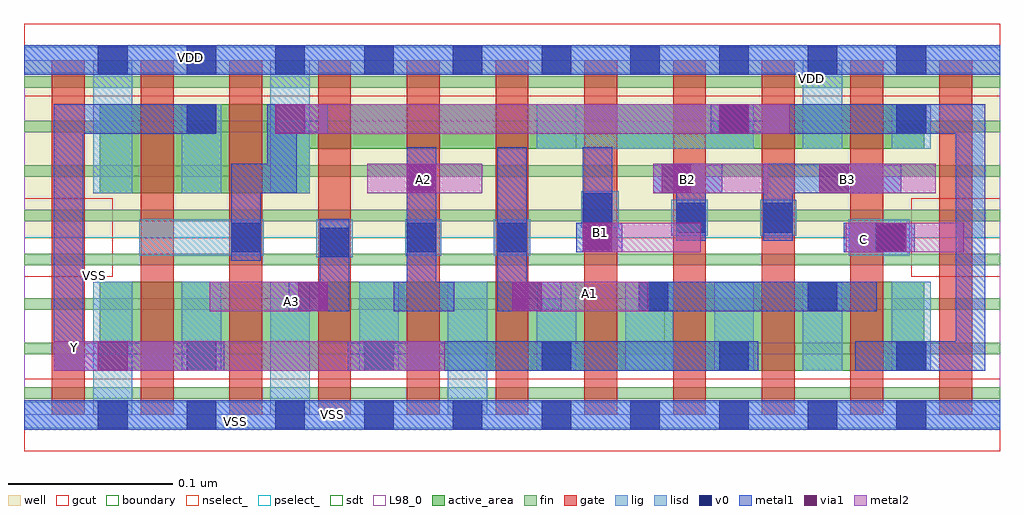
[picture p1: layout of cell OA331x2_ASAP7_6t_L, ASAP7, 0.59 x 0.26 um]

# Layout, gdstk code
import gdstk
lib = gdstk.Library(unit=1e-6, precision=2.5e-10)
def R(c, l, rs):  # rectangles x0, y0, x1, y1
    for r in rs: c.add(gdstk.rectangle(r[:2], r[2:], *l))
def A(c, l, x, y, w, h, nx, ny, dx, dy):  # array of equal rectangles
    R(c, l, [(x+i*dx, y+j*dy, x+i*dx+w, y+j*dy+h) for i in range(nx) for j in range(ny)])
def P(c, l, *ps):  # polygons
    for p in ps: c.add(gdstk.Polygon(p, *l))
well = (1, 0)
fin = (2, 0)
gate = (7, 0)
gcut = (10, 0)
active_area = (11, 0)
nselect_ = (12, 0)
pselect_ = (13, 0)
lig = (16, 0)
lisd = (17, 0)
v0 = (18, 0)
metal1 = (19, 0)
metal2 = (20, 0)
via1 = (21, 0)
sdt = (88, 0)
L98_0 = (98, 0)
boundary = (100, 0)

oa331x2_asap7_6t_l = lib.new_cell('OA331x2_ASAP7_6t_L')
R(oa331x2_asap7_6t_l, well, [(0,0.108,0.594,0.216)])
A(oa331x2_asap7_6t_l, fin, 0, 0.01, 0.594, 0.007, 1, 8, 0, 0.027)
A(oa331x2_asap7_6t_l, gate, 0.017, 0, 0.02, 0.216, 11, 1, 0.054, 0)
R(oa331x2_asap7_6t_l, gcut, [(0,-0.022,0.594,0.022), (0,0.084,0.054,0.132), (0.54,0.084,0.594,0.132), (0,0.194,0.594,0.238)])
R(oa331x2_asap7_6t_l, active_area, [(0.046,0.027,0.548,0.081)])
P(oa331x2_asap7_6t_l, active_area, [(0.548,0.162),(0.174,0.162),(0.174,0.135),(0.046,0.135),(0.046,0.189),(0.548,0.189)])
R(oa331x2_asap7_6t_l, nselect_, [(0,0,0.594,0.108)])
R(oa331x2_asap7_6t_l, pselect_, [(0,0.108,0.594,0.216)])
R(oa331x2_asap7_6t_l, lig, [(0,-0.008,0.594,0.008), (0.178,0.096,0.2,0.119), (0.07,0.097,0.146,0.119), (0.232,0.097,0.254,0.119), (0.286,0.097,0.308,0.119), (0.502,0.097,0.539,0.119), (0.394,0.109,0.416,0.131), (0.448,0.109,0.47,0.131), (0.339,0.114,0.362,0.136), (0,0.208,0.594,0.224)])
A(oa331x2_asap7_6t_l, lisd, 0.042, 0, 0.024, 0.081, 3, 1, 0.108, 0)
A(oa331x2_asap7_6t_l, lisd, 0.096, 0.027, 0.024, 0.054, 4, 1, 0.108, 0)
R(oa331x2_asap7_6t_l, lisd, [(0.366,0.027,0.395,0.081), (0.474,0.027,0.498,0.081), (0.528,0.027,0.552,0.081), (0.042,0.135,0.066,0.216), (0.096,0.135,0.12,0.189), (0.15,0.135,0.174,0.216), (0.312,0.162,0.444,0.189), (0.474,0.162,0.498,0.216), (0.528,0.162,0.552,0.189)])
A(oa331x2_asap7_6t_l, v0, 0.045, -0.009, 0.018, 0.018, 10, 2, 0.054, 0.216)
A(oa331x2_asap7_6t_l, v0, 0.099, 0.027, 0.018, 0.018, 5, 1, 0.108, 0)
R(oa331x2_asap7_6t_l, v0, [(0.374,0.063,0.392,0.081), (0.477,0.063,0.495,0.081), (0.18,0.096,0.198,0.114), (0.126,0.099,0.144,0.117), (0.233,0.099,0.251,0.117), (0.288,0.099,0.306,0.117), (0.518,0.099,0.536,0.117), (0.397,0.111,0.415,0.129), (0.45,0.111,0.468,0.129), (0.34,0.117,0.358,0.135), (0.099,0.171,0.117,0.189), (0.423,0.171,0.441,0.189), (0.531,0.171,0.549,0.189)])
R(oa331x2_asap7_6t_l, metal1, [(0,-0.009,0.594,0.009), (0.197,0.027,0.447,0.045), (0.374,0.063,0.519,0.081), (0.499,0.099,0.542,0.117), (0,0.207,0.594,0.225)])
P(oa331x2_asap7_6t_l, metal1, [(0.585,0.027),(0.506,0.027),(0.506,0.045),(0.567,0.045),(0.567,0.171),(0.418,0.171),(0.418,0.189),(0.585,0.189)],
  [(0.534,0.135),(0.468,0.135),(0.468,0.106),(0.45,0.106),(0.45,0.153),(0.534,0.153)],
  [(0.364,0.099),(0.336,0.099),(0.336,0.117),(0.34,0.117),(0.34,0.163),(0.358,0.163),(0.358,0.117),(0.364,0.117)],
  [(0.327,0.063),(0.288,0.063),(0.288,0.163),(0.306,0.163),(0.306,0.081),(0.327,0.081)],
  [(0.198,0.063),(0.161,0.063),(0.161,0.081),(0.18,0.081),(0.18,0.119),(0.198,0.119)],
  [(0.262,0.063),(0.225,0.063),(0.225,0.081),(0.233,0.081),(0.233,0.163),(0.251,0.163),(0.251,0.081),(0.262,0.081)],
  [(0.185,0.171),(0.166,0.171),(0.166,0.135),(0.144,0.135),(0.144,0.094),(0.126,0.094),(0.126,0.153),(0.148,0.153),(0.148,0.189),(0.185,0.189)],
  [(0.117,0.171),(0.036,0.171),(0.036,0.045),(0.122,0.045),(0.122,0.027),(0.018,0.027),(0.018,0.189),(0.117,0.189)],
  [(0.425,0.135),(0.415,0.135),(0.415,0.106),(0.397,0.106),(0.397,0.135),(0.383,0.135),(0.383,0.153),(0.425,0.153)])
R(oa331x2_asap7_6t_l, metal2, [(0.018,0.027,0.256,0.045), (0.113,0.063,0.185,0.081), (0.297,0.063,0.38,0.081), (0.34,0.099,0.412,0.117), (0.5,0.099,0.572,0.117), (0.209,0.135,0.279,0.153), (0.383,0.135,0.453,0.153), (0.484,0.135,0.555,0.153), (0.153,0.171,0.466,0.189)])
R(oa331x2_asap7_6t_l, via1, [(0.045,0.027,0.063,0.045), (0.167,0.063,0.185,0.081), (0.297,0.063,0.315,0.081), (0.34,0.099,0.358,0.117), (0.519,0.099,0.537,0.117), (0.233,0.135,0.251,0.153), (0.388,0.135,0.406,0.153), (0.484,0.135,0.502,0.153), (0.153,0.171,0.171,0.189), (0.423,0.171,0.441,0.189)])
A(oa331x2_asap7_6t_l, sdt, 0.042, 0.027, 0.024, 0.054, 10, 1, 0.054, 0)
A(oa331x2_asap7_6t_l, sdt, 0.042, 0.135, 0.024, 0.054, 3, 1, 0.054, 0)
R(oa331x2_asap7_6t_l, sdt, [(0.312,0.162,0.336,0.189), (0.474,0.162,0.498,0.189), (0.528,0.162,0.552,0.189)])
R(oa331x2_asap7_6t_l, L98_0, [(0,0,0.594,0.216)])
R(oa331x2_asap7_6t_l, boundary, [(0,0,0.594,0.216)])
oa331x2_asap7_6t_l.add(gdstk.Label('VSS', (0.043,0.085), layer=3, texttype=251))
oa331x2_asap7_6t_l.add(gdstk.Label('A3', (0.163,0.069), layer=20, texttype=251))
oa331x2_asap7_6t_l.add(gdstk.Label('A1', (0.344,0.074), layer=20, texttype=251))
oa331x2_asap7_6t_l.add(gdstk.Label('C', (0.511,0.107), layer=20, texttype=251))
oa331x2_asap7_6t_l.add(gdstk.Label('B1', (0.351,0.111), layer=20, texttype=251))
oa331x2_asap7_6t_l.add(gdstk.Label('B3', (0.501,0.143), layer=20, texttype=251))
oa331x2_asap7_6t_l.add(gdstk.Label('B2', (0.404,0.143), layer=20, texttype=251))
oa331x2_asap7_6t_l.add(gdstk.Label('A2', (0.243,0.143), layer=20, texttype=251))
oa331x2_asap7_6t_l.add(gdstk.Label('Y', (0.031,0.041), layer=20, texttype=251))
oa331x2_asap7_6t_l.add(gdstk.Label('VSS', (0.129,-0.004), layer=19, texttype=251))
oa331x2_asap7_6t_l.add(gdstk.Label('VSS', (0.188,0.0005), layer=19, texttype=251))
oa331x2_asap7_6t_l.add(gdstk.Label('VDD', (0.1015,0.2175), layer=19, texttype=251))
oa331x2_asap7_6t_l.add(gdstk.Label('VDD', (0.479,0.205), layer=1, texttype=251))

lib.write_gds('OA331x2_ASAP7_6t_L.gds')
